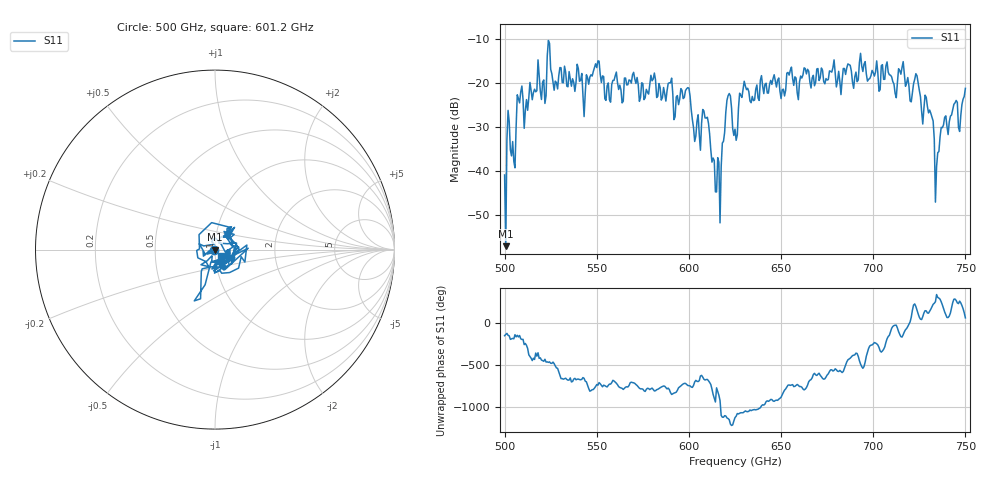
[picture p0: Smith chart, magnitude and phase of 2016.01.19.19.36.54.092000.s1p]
!Created with skrf (http://scikit-rf.org).
# GHz S RI R 50.0
!freq ReS11 ImS11
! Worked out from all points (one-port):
!   401 points, 500 GHz to 750 GHz, reference 50 ohm
!   lowest |S11| = -57.0 dB at 500.6 GHz (marker M1), VSWR 1.00, Z = 49.9 - j0.0901 ohm
!   |S11| at or under -10 dB: start of sweep to end of sweep
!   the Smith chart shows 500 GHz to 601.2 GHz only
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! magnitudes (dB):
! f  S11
! 500 GHz  -40.8
! 500.6 GHz  -57.0
! 502.5 GHz  -28.7
! 505 GHz  -37.7
! 508.1 GHz  -24.4
! 521.2 GHz  -19.2
! 524.4 GHz  -10.9
! 527.5 GHz  -19.5
! 531.2 GHz  -19.8
! 543.8 GHz  -22.2
! 550 GHz  -16.4
! 562.5 GHz  -20.4
! 580.6 GHz  -19.0
! 593.8 GHz  -22.8
! 599.4 GHz  -21.0
! 605 GHz  -27.1
! 608.8 GHz  -27.9
! 615.6 GHz  -36.9
! 621.2 GHz  -22.8
! 625 GHz  -30.4
! 630.6 GHz  -20.6
! 656.2 GHz  -18.9
! 687.5 GHz  -15.9
! 718.8 GHz  -18.7
! 729.4 GHz  -25.2
! 734.4 GHz  -38.9
! 738.1 GHz  -29.4
! 750 GHz  -21.1
